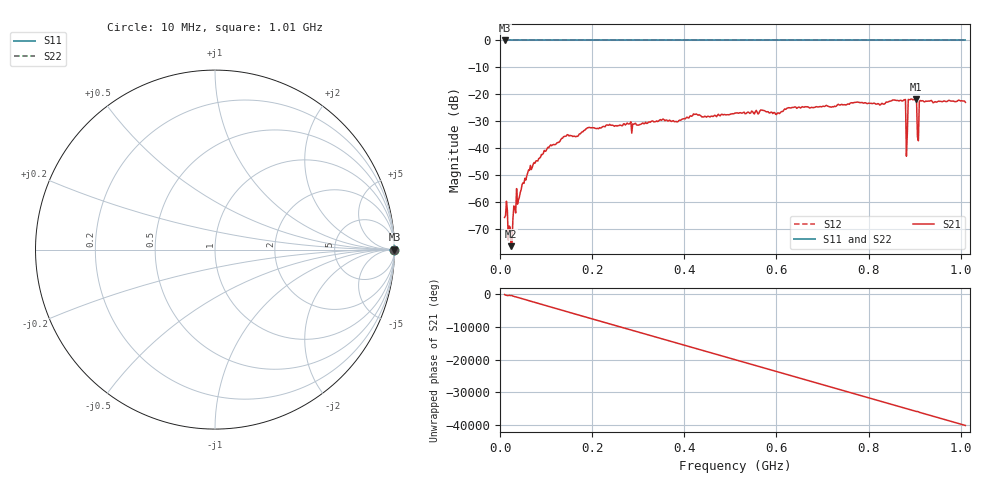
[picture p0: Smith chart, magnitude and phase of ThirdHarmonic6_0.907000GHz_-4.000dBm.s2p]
! 8/16/2025 5:42:12 AM
! C:\ANRITSUVNA\TEMP\TEMP.S2P
! CHANNEL.1
! TR.MEASUREMENT
! RAW.DATA
! RF.CORRECTION.OFF
! AVERAGING.OFF
! IF.BANDWIDTH: 5KHZ
! SWEEPTYPE:  FREQ.SWEEP(Linear)
! Reference Plane Port Info
! PORT:  PORT1  PORT2
! DISTANCE:  0  m  0  m
! TIME:  0  s  0  s
! PHASE.OFFSET:  0  deg.  0  deg.
! LOSS:  0  dB  0  dB
! REF.LOSS:  0  dB  0  dB
! REF.FREQ:  0  Hz  0  Hz
! Power Info
! POWER:  -20  dBm  -20  dBm
! EFF.POWER:  -20  dBm  -20  dBm
! SOURCE.ATTEN:  0  dB  0  dB
! TEST.ATTEN:  0  dB  0  dB
# GHZ S RI R 50.0
! FREQ.GHZ  S11RE  S11IM  S21RE  S21IM  S12RE  S12IM  S22RE  S22IM
!; PortSelection: Port_12
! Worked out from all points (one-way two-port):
!   501 points, 10 MHz to 1.01 GHz, reference 50 ohm
!   highest |S21| = -21.77 dB at 902 MHz (marker M1); lowest = -76.6 dB at 24 MHz (marker M2)
!   lowest |S11| = 0.0 dB at 10 MHz (marker M3)
!   |S11| at or under -10 dB: nowhere
!   |S22| runs from 0.0 to 0.0 dB; largest |S21 - S12| = 1.1
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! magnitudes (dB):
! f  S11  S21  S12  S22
! 10 MHz  0.0  -65.9  0.0  0.0
! 18 MHz  0.0  -74.3  0.0  0.0
! 22 MHz  0.0  -69.5  0.0  0.0
! 24 MHz  0.0  -76.6  0.0  0.0
! 34 MHz  0.0  -64.2  0.0  0.0
! 70 MHz  0.0  -47.2  0.0  0.0
! 106 MHz  0.0  -39.9  0.0  0.0
! 178 MHz  0.0  -34.0  0.0  0.0
! 344 MHz  0.0  -30.0  0.0  0.0
! 510 MHz  0.0  -27.0  0.0  0.0
! 678 MHz  0.0  -24.9  0.0  0.0
! 844 MHz  0.0  -22.7  0.0  0.0
! 876 MHz  0.0  -22.2  0.0  0.0
! 880 MHz  0.0  -22.0  0.0  0.0
! 886 MHz  0.0  -22.0  0.0  0.0
! 890 MHz  0.0  -22.0  0.0  0.0
! 900 MHz  0.0  -22.0  0.0  0.0
! 902 MHz  0.0  -21.8  0.0  0.0
! 904 MHz  0.0  -22.3  0.0  0.0
! 910 MHz  0.0  -22.7  0.0  0.0
! 914 MHz  0.0  -22.5  0.0  0.0
! 1.01 GHz  0.0  -23.0  0.0  0.0
